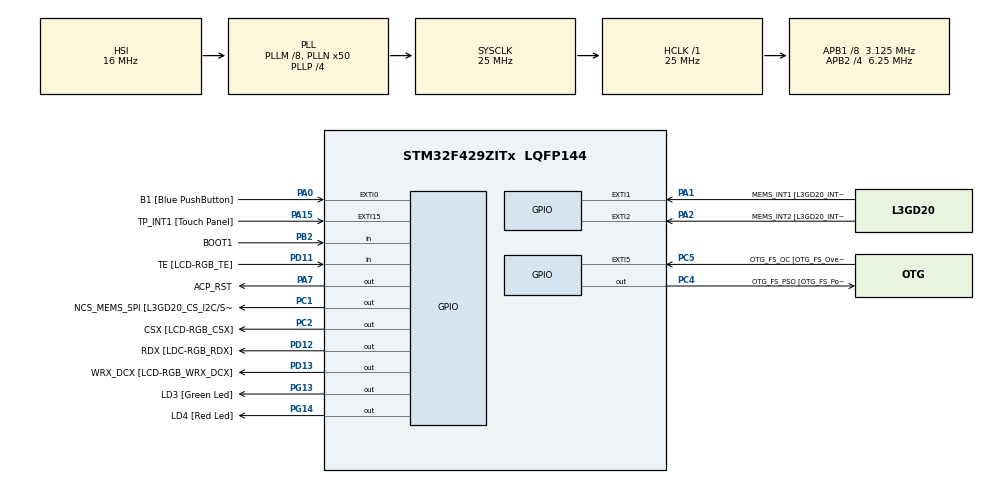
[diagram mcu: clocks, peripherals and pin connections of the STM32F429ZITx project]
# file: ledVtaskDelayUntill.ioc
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Mcu.Family=STM32F4
Mcu.Name=STM32F429ZITx
Mcu.Package=LQFP144
NVIC.PriorityGroup=NVIC_PRIORITYGROUP_4
NVIC.TIM6_DAC_IRQn=true\:15\:0\:false\:false\:true\:false\:true\:true
NVIC.TimeBase=TIM6_DAC_IRQn
NVIC.TimeBaseIP=TIM6
PA0/WKUP.GPIO_Label=B1 [Blue PushButton]
PA0/WKUP.GPIO_ModeDefaultEXTI=GPIO_MODE_EVT_RISING
PA0/WKUP.GPIO_PuPd=GPIO_NOPULL
PA0/WKUP.Signal=GPXTI0
PA1.GPIO_Label=MEMS_INT1 [L3GD20_INT1]
PA1.GPIO_ModeDefaultEXTI=GPIO_MODE_EVT_RISING
PA1.GPIO_PuPd=GPIO_NOPULL
PA1.Signal=GPXTI1
PA10.GPIO_Label=STLINK_TX [STM32F103CBT6_PA2]
PA10.Signal=USART1_RX
PA11.GPIO_Label=R4
PA11.GPIO_Mode=GPIO_MODE_AF_PP
PA11.GPIO_PuPd=GPIO_NOPULL
PA11.GPIO_Speed=GPIO_SPEED_FREQ_LOW
PA11.Signal=LTDC_R4
PA12.GPIO_Label=R5
PA12.GPIO_Mode=GPIO_MODE_AF_PP
PA12.GPIO_PuPd=GPIO_NOPULL
PA12.GPIO_Speed=GPIO_SPEED_FREQ_LOW
PA12.Signal=LTDC_R5
PA13.GPIO_Label=SWDIO
PA13.Signal=SYS_JTMS-SWDIO
PA14.GPIO_Label=SWCLK
PA14.Signal=SYS_JTCK-SWCLK
PA15.GPIO_Label=TP_INT1 [Touch Panel]
PA15.GPIO_ModeDefaultEXTI=GPIO_MODE_EVT_RISING
PA15.GPIO_PuPd=GPIO_NOPULL
PA15.Signal=GPXTI15
PA2.GPIO_Label=MEMS_INT2 [L3GD20_INT2]
PA2.GPIO_ModeDefaultEXTI=GPIO_MODE_EVT_RISING
PA2.GPIO_PuPd=GPIO_NOPULL
PA2.Signal=GPXTI2
PA3.GPIO_Label=B5
PA3.GPIO_Mode=GPIO_MODE_AF_PP
PA3.GPIO_PuPd=GPIO_NOPULL
PA3.GPIO_Speed=GPIO_SPEED_FREQ_LOW
PA3.Signal=LTDC_B5
PA4.GPIO_Label=VSYNC
PA4.GPIO_Mode=GPIO_MODE_AF_PP
PA4.GPIO_PuPd=GPIO_NOPULL
PA4.GPIO_Speed=GPIO_SPEED_FREQ_LOW
PA4.Signal=LTDC_VSYNC
PA6.GPIO_Label=G2
PA6.GPIO_Mode=GPIO_MODE_AF_PP
PA6.GPIO_PuPd=GPIO_NOPULL
PA6.GPIO_Speed=GPIO_SPEED_FREQ_LOW
PA6.Signal=LTDC_G2
PA7.GPIO_Label=ACP_RST
PA7.GPIO_Mode=GPIO_MODE_OUTPUT_PP
PA7.GPIO_PuPd=GPIO_NOPULL
PA7.GPIO_Speed=GPIO_SPEED_FREQ_LOW
PA7.Signal=GPIO_Output
PA8.GPIO_Label=I2C3_SCL [ACP/RF_SCL]
PA8.GPIO_Mode=GPIO_MODE_AF_OD
PA8.GPIO_PuPd=GPIO_NOPULL
PA8.GPIO_Speed=GPIO_SPEED_FREQ_LOW
PA8.Signal=I2C3_SCL
PA9.GPIO_Label=STLINK_RX [STM32F103CBT6_PA3]
PA9.Signal=USART1_TX
PB0.GPIO_Label=R3
PB0.GPIO_Mode=GPIO_MODE_AF_PP
PB0.GPIO_PuPd=GPIO_NOPULL
PB0.GPIO_Speed=GPIO_SPEED_FREQ_LOW
PB0.Signal=LTDC_R3
PB1.GPIO_Label=R6
PB1.GPIO_Mode=GPIO_MODE_AF_PP
PB1.GPIO_PuPd=GPIO_NOPULL
PB1.GPIO_Speed=GPIO_SPEED_FREQ_LOW
PB1.Signal=LTDC_R6
PB10.GPIO_Label=G4
PB10.GPIO_Mode=GPIO_MODE_AF_PP
PB10.GPIO_PuPd=GPIO_NOPULL
PB10.GPIO_Speed=GPIO_SPEED_FREQ_LOW
PB10.Signal=LTDC_G4
PB11.GPIO_Label=G5
PB11.GPIO_Mode=GPIO_MODE_AF_PP
PB11.GPIO_PuPd=GPIO_NOPULL
PB11.GPIO_Speed=GPIO_SPEED_FREQ_LOW
PB11.Signal=LTDC_G5
PB12.GPIO_Label=OTG_HS_ID
PB12.GPIO_Mode=GPIO_MODE_AF_PP
PB12.GPIO_PuPd=GPIO_NOPULL
PB12.GPIO_Speed=GPIO_SPEED_FREQ_LOW
PB12.Signal=USB_OTG_HS_ID
PB13.GPIO_Label=VBUS_HS
PB13.GPIO_Mode=GPIO_MODE_INPUT
PB13.GPIO_PuPd=GPIO_NOPULL
PB13.Signal=USB_OTG_HS_VBUS
PB14.GPIO_Label=OTG_HS_DM
PB14.GPIO_Mode=GPIO_MODE_AF_PP
PB14.GPIO_PuPd=GPIO_NOPULL
PB14.GPIO_Speed=GPIO_SPEED_FREQ_LOW
PB14.Signal=USB_OTG_HS_DM
PB15.GPIO_Label=OTG_HS_DP
PB15.GPIO_Mode=GPIO_MODE_AF_PP
PB15.GPIO_PuPd=GPIO_NOPULL
PB15.GPIO_Speed=GPIO_SPEED_FREQ_LOW
PB15.Signal=USB_OTG_HS_DP
PB2/BOOT1.GPIO_Label=BOOT1
PB2/BOOT1.GPIO_Mode=GPIO_MODE_INPUT
PB2/BOOT1.GPIO_PuPd=GPIO_NOPULL
PB2/BOOT1.Signal=GPIO_Input
PB5.GPIO_Label=SDCKE1
PB5.GPIO_Mode=GPIO_MODE_AF_PP
PB5.GPIO_PuPd=GPIO_NOPULL
PB5.GPIO_Speed=GPIO_SPEED_FREQ_VERY_HIGH
PB5.Signal=FMC_SDCKE1
PB6.GPIO_Label=SDNE1 [SDRAM_CS]
PB6.GPIO_Mode=GPIO_MODE_AF_PP
PB6.GPIO_PuPd=GPIO_NOPULL
PB6.GPIO_Speed=GPIO_SPEED_FREQ_VERY_HIGH
PB6.Signal=FMC_SDNE1
PB8.GPIO_Label=B6
PB8.GPIO_Mode=GPIO_MODE_AF_PP
PB8.GPIO_PuPd=GPIO_NOPULL
PB8.GPIO_Speed=GPIO_SPEED_FREQ_LOW
PB8.Signal=LTDC_B6
PB9.GPIO_Label=B7
PB9.GPIO_Mode=GPIO_MODE_AF_PP
PB9.GPIO_PuPd=GPIO_NOPULL
PB9.GPIO_Speed=GPIO_SPEED_FREQ_LOW
PB9.Signal=LTDC_B7
PC0.GPIO_Label=SDNWE
PC0.GPIO_Mode=GPIO_MODE_AF_PP
PC0.GPIO_PuPd=GPIO_NOPULL
PC0.GPIO_Speed=GPIO_SPEED_FREQ_VERY_HIGH
PC0.Signal=FMC_SDNWE
PC1.GPIO_Label=NCS_MEMS_SPI [L3GD20_CS_I2C/SPI]
PC1.GPIO_Mode=GPIO_MODE_OUTPUT_PP
PC1.GPIO_PuPd=GPIO_NOPULL
PC1.GPIO_Speed=GPIO_SPEED_FREQ_LOW
PC1.Signal=GPIO_Output
PC10.GPIO_Label=R2
PC10.GPIO_Mode=GPIO_MODE_AF_PP
PC10.GPIO_PuPd=GPIO_NOPULL
PC10.GPIO_Speed=GPIO_SPEED_FREQ_LOW
PC10.Signal=LTDC_R2
PC14/OSC32_IN.GPIO_Label=PC14-OSC32_IN
PC14/OSC32_IN.Signal=RCC_OSC32_IN
PC15/OSC32_OUT.GPIO_Label=PC15-OSC32_OUT
PC15/OSC32_OUT.Signal=RCC_OSC32_OUT
PC2.GPIO_Label=CSX [LCD-RGB_CSX]
PC2.GPIO_Mode=GPIO_MODE_OUTPUT_PP
PC2.GPIO_PuPd=GPIO_NOPULL
PC2.GPIO_Speed=GPIO_SPEED_FREQ_LOW
PC2.Signal=GPIO_Output
PC4.GPIO_Label=OTG_FS_PSO [OTG_FS_PowerSwitchOn]
PC4.GPIO_Mode=GPIO_MODE_OUTPUT_PP
PC4.GPIO_PuPd=GPIO_NOPULL
PC4.GPIO_Speed=GPIO_SPEED_FREQ_LOW
PC4.Signal=GPIO_Output
PC5.GPIO_Label=OTG_FS_OC [OTG_FS_OverCurrent]
PC5.GPIO_ModeDefaultEXTI=GPIO_MODE_EVT_RISING
PC5.Signal=GPXTI5
PC6.GPIO_Label=HSYNC
PC6.GPIO_Mode=GPIO_MODE_AF_PP
PC6.GPIO_PuPd=GPIO_NOPULL
PC6.GPIO_Speed=GPIO_SPEED_FREQ_LOW
PC6.Signal=LTDC_HSYNC
PC7.GPIO_Label=G6
PC7.GPIO_Mode=GPIO_MODE_AF_PP
PC7.GPIO_PuPd=GPIO_NOPULL
PC7.GPIO_Speed=GPIO_SPEED_FREQ_LOW
PC7.Signal=LTDC_G6
PC9.GPIO_Label=I2C3_SDA [ACP/RF_SDA]
PC9.GPIO_Mode=GPIO_MODE_AF_OD
PC9.GPIO_PuPd=GPIO_NOPULL
PC9.GPIO_Speed=GPIO_SPEED_FREQ_LOW
PC9.Signal=I2C3_SDA
PD0.GPIO_Label=D2
PD0.GPIO_Mode=GPIO_MODE_AF_PP
PD0.GPIO_PuPd=GPIO_NOPULL
PD0.GPIO_Speed=GPIO_SPEED_FREQ_VERY_HIGH
PD0.Signal=FMC_D2_DA2
PD1.GPIO_Label=D3
PD1.GPIO_Mode=GPIO_MODE_AF_PP
PD1.GPIO_PuPd=GPIO_NOPULL
PD1.GPIO_Speed=GPIO_SPEED_FREQ_VERY_HIGH
PD1.Signal=FMC_D3_DA3
PD10.GPIO_Label=D15
PD10.GPIO_Mode=GPIO_MODE_AF_PP
PD10.GPIO_PuPd=GPIO_NOPULL
PD10.GPIO_Speed=GPIO_SPEED_FREQ_VERY_HIGH
PD10.Signal=FMC_D15_DA15
PD11.GPIO_Label=TE [LCD-RGB_TE]
PD11.GPIO_Mode=GPIO_MODE_INPUT
PD11.GPIO_PuPd=GPIO_NOPULL
PD11.Signal=GPIO_Input
PD12.GPIO_Label=RDX [LDC-RGB_RDX]
PD12.GPIO_Mode=GPIO_MODE_OUTPUT_PP
PD12.GPIO_PuPd=GPIO_NOPULL
PD12.GPIO_Speed=GPIO_SPEED_FREQ_LOW
PD12.Signal=GPIO_Output
PD13.GPIO_Label=WRX_DCX [LCD-RGB_WRX_DCX]
PD13.GPIO_Mode=GPIO_MODE_OUTPUT_PP
PD13.GPIO_PuPd=GPIO_NOPULL
PD13.GPIO_Speed=GPIO_SPEED_FREQ_LOW
PD13.Signal=GPIO_Output
PD14.GPIO_Label=D0
PD14.GPIO_Mode=GPIO_MODE_AF_PP
PD14.GPIO_PuPd=GPIO_NOPULL
PD14.GPIO_Speed=GPIO_SPEED_FREQ_VERY_HIGH
PD14.Signal=FMC_D0_DA0
PD15.GPIO_Label=D1
PD15.GPIO_Mode=GPIO_MODE_AF_PP
PD15.GPIO_PuPd=GPIO_NOPULL
PD15.GPIO_Speed=GPIO_SPEED_FREQ_VERY_HIGH
PD15.Signal=FMC_D1_DA1
PD3.GPIO_Label=G7
PD3.GPIO_Mode=GPIO_MODE_AF_PP
PD3.GPIO_PuPd=GPIO_NOPULL
PD3.GPIO_Speed=GPIO_SPEED_FREQ_LOW
PD3.Signal=LTDC_G7
PD6.GPIO_Label=B2
PD6.GPIO_Mode=GPIO_MODE_AF_PP
PD6.GPIO_PuPd=GPIO_NOPULL
PD6.GPIO_Speed=GPIO_SPEED_FREQ_LOW
PD6.Signal=LTDC_B2
PD8.GPIO_Label=D13
PD8.GPIO_Mode=GPIO_MODE_AF_PP
PD8.GPIO_PuPd=GPIO_NOPULL
PD8.GPIO_Speed=GPIO_SPEED_FREQ_VERY_HIGH
PD8.Signal=FMC_D13_DA13
PD9.GPIO_Label=D14
PD9.GPIO_Mode=GPIO_MODE_AF_PP
PD9.GPIO_PuPd=GPIO_NOPULL
PD9.GPIO_Speed=GPIO_SPEED_FREQ_VERY_HIGH
PD9.Signal=FMC_D14_DA14
PE0.GPIO_Label=NBL0 [SDRAM_LDQM]
PE0.GPIO_Mode=GPIO_MODE_AF_PP
PE0.GPIO_PuPd=GPIO_NOPULL
PE0.GPIO_Speed=GPIO_SPEED_FREQ_VERY_HIGH
PE0.Signal=FMC_NBL0
PE1.GPIO_Label=NBL1 [SDRAM_UDQM]
PE1.GPIO_Mode=GPIO_MODE_AF_PP
PE1.GPIO_PuPd=GPIO_NOPULL
PE1.GPIO_Speed=GPIO_SPEED_FREQ_VERY_HIGH
PE1.Signal=FMC_NBL1
PE10.GPIO_Label=D7
PE10.GPIO_Mode=GPIO_MODE_AF_PP
PE10.GPIO_PuPd=GPIO_NOPULL
PE10.GPIO_Speed=GPIO_SPEED_FREQ_VERY_HIGH
PE10.Signal=FMC_D7_DA7
PE11.GPIO_Label=D8
PE11.GPIO_Mode=GPIO_MODE_AF_PP
PE11.GPIO_PuPd=GPIO_NOPULL
PE11.GPIO_Speed=GPIO_SPEED_FREQ_VERY_HIGH
PE11.Signal=FMC_D8_DA8
PE12.GPIO_Label=D9
PE12.GPIO_Mode=GPIO_MODE_AF_PP
PE12.GPIO_PuPd=GPIO_NOPULL
PE12.GPIO_Speed=GPIO_SPEED_FREQ_VERY_HIGH
PE12.Signal=FMC_D9_DA9
PE13.GPIO_Label=D10
PE13.GPIO_Mode=GPIO_MODE_AF_PP
PE13.GPIO_PuPd=GPIO_NOPULL
PE13.GPIO_Speed=GPIO_SPEED_FREQ_VERY_HIGH
PE13.Signal=FMC_D10_DA10
PE14.GPIO_Label=D11
PE14.GPIO_Mode=GPIO_MODE_AF_PP
PE14.GPIO_PuPd=GPIO_NOPULL
PE14.GPIO_Speed=GPIO_SPEED_FREQ_VERY_HIGH
PE14.Signal=FMC_D11_DA11
PE15.GPIO_Label=D12
PE15.GPIO_Mode=GPIO_MODE_AF_PP
PE15.GPIO_PuPd=GPIO_NOPULL
PE15.GPIO_Speed=GPIO_SPEED_FREQ_VERY_HIGH
PE15.Signal=FMC_D12_DA12
PE7.GPIO_Label=D4
PE7.GPIO_Mode=GPIO_MODE_AF_PP
PE7.GPIO_PuPd=GPIO_NOPULL
PE7.GPIO_Speed=GPIO_SPEED_FREQ_VERY_HIGH
PE7.Signal=FMC_D4_DA4
PE8.GPIO_Label=D5
PE8.GPIO_Mode=GPIO_MODE_AF_PP
PE8.GPIO_PuPd=GPIO_NOPULL
PE8.GPIO_Speed=GPIO_SPEED_FREQ_VERY_HIGH
PE8.Signal=FMC_D5_DA5
PE9.GPIO_Label=D6
PE9.GPIO_Mode=GPIO_MODE_AF_PP
PE9.GPIO_PuPd=GPIO_NOPULL
PE9.GPIO_Speed=GPIO_SPEED_FREQ_VERY_HIGH
PE9.Signal=FMC_D6_DA6
PF0.GPIO_Label=A0
PF0.GPIO_Mode=GPIO_MODE_AF_PP
PF0.GPIO_PuPd=GPIO_NOPULL
PF0.GPIO_Speed=GPIO_SPEED_FREQ_VERY_HIGH
PF0.Signal=FMC_A0
PF1.GPIO_Label=A1
PF1.GPIO_Mode=GPIO_MODE_AF_PP
PF1.GPIO_PuPd=GPIO_NOPULL
PF1.GPIO_Speed=GPIO_SPEED_FREQ_VERY_HIGH
PF1.Signal=FMC_A1
PF10.GPIO_Label=ENABLE [LCD-RGB_ENABLE]
PF10.GPIO_Mode=GPIO_MODE_AF_PP
PF10.GPIO_PuPd=GPIO_NOPULL
PF10.GPIO_Speed=GPIO_SPEED_FREQ_LOW
PF10.Signal=LTDC_DE
PF11.GPIO_Label=SDNRAS
PF11.GPIO_Mode=GPIO_MODE_AF_PP
PF11.GPIO_PuPd=GPIO_NOPULL
PF11.GPIO_Speed=GPIO_SPEED_FREQ_VERY_HIGH
PF11.Signal=FMC_SDNRAS
PF12.GPIO_Label=A6
PF12.GPIO_Mode=GPIO_MODE_AF_PP
PF12.GPIO_PuPd=GPIO_NOPULL
PF12.GPIO_Speed=GPIO_SPEED_FREQ_VERY_HIGH
PF12.Signal=FMC_A6
PF13.GPIO_Label=A7
PF13.GPIO_Mode=GPIO_MODE_AF_PP
PF13.GPIO_PuPd=GPIO_NOPULL
PF13.GPIO_Speed=GPIO_SPEED_FREQ_VERY_HIGH
PF13.Signal=FMC_A7
PF14.GPIO_Label=A8
PF14.GPIO_Mode=GPIO_MODE_AF_PP
PF14.GPIO_PuPd=GPIO_NOPULL
PF14.GPIO_Speed=GPIO_SPEED_FREQ_VERY_HIGH
PF14.Signal=FMC_A8
PF15.GPIO_Label=A9
PF15.GPIO_Mode=GPIO_MODE_AF_PP
PF15.GPIO_PuPd=GPIO_NOPULL
PF15.GPIO_Speed=GPIO_SPEED_FREQ_VERY_HIGH
PF15.Signal=FMC_A9
PF2.GPIO_Label=A2
PF2.GPIO_Mode=GPIO_MODE_AF_PP
PF2.GPIO_PuPd=GPIO_NOPULL
PF2.GPIO_Speed=GPIO_SPEED_FREQ_VERY_HIGH
PF2.Signal=FMC_A2
PF3.GPIO_Label=A3
PF3.GPIO_Mode=GPIO_MODE_AF_PP
PF3.GPIO_PuPd=GPIO_NOPULL
PF3.GPIO_Speed=GPIO_SPEED_FREQ_VERY_HIGH
PF3.Signal=FMC_A3
PF4.GPIO_Label=A4
PF4.GPIO_Mode=GPIO_MODE_AF_PP
PF4.GPIO_PuPd=GPIO_NOPULL
PF4.GPIO_Speed=GPIO_SPEED_FREQ_VERY_HIGH
PF4.Signal=FMC_A4
PF5.GPIO_Label=A5
PF5.GPIO_Mode=GPIO_MODE_AF_PP
PF5.GPIO_PuPd=GPIO_NOPULL
PF5.GPIO_Speed=GPIO_SPEED_FREQ_VERY_HIGH
PF5.Signal=FMC_A5
PF7.GPIO_Label=SPI5_SCK [L3GD20_SCL/SPC]
PF7.GPIO_Mode=GPIO_MODE_AF_PP
PF7.GPIO_PuPd=GPIO_NOPULL
PF7.GPIO_Speed=GPIO_SPEED_FREQ_LOW
PF7.Signal=SPI5_SCK
PF8.GPIO_Label=SPI5_MISO [L3GD20_SDO]
PF8.GPIO_Mode=GPIO_MODE_AF_PP
PF8.GPIO_PuPd=GPIO_NOPULL
PF8.GPIO_Speed=GPIO_SPEED_FREQ_LOW
PF8.Signal=SPI5_MISO
PF9.GPIO_Label=SPI5_MOSI [L3GD20_SDA/SDI/SDO]
PF9.GPIO_Mode=GPIO_MODE_AF_PP
PF9.GPIO_PuPd=GPIO_NOPULL
PF9.GPIO_Speed=GPIO_SPEED_FREQ_LOW
PF9.Signal=SPI5_MOSI
PG0.GPIO_Label=A10
PG0.GPIO_Mode=GPIO_MODE_AF_PP
PG0.GPIO_PuPd=GPIO_NOPULL
PG0.GPIO_Speed=GPIO_SPEED_FREQ_VERY_HIGH
PG0.Signal=FMC_A10
PG1.GPIO_Label=A11
PG1.GPIO_Mode=GPIO_MODE_AF_PP
PG1.GPIO_PuPd=GPIO_NOPULL
PG1.GPIO_Speed=GPIO_SPEED_FREQ_VERY_HIGH
PG1.Signal=FMC_A11
PG10.GPIO_Label=G3
PG10.GPIO_Mode=GPIO_MODE_AF_PP
PG10.GPIO_PuPd=GPIO_NOPULL
PG10.GPIO_Speed=GPIO_SPEED_FREQ_LOW
PG10.Signal=LTDC_G3
PG11.GPIO_Label=B3
PG11.GPIO_Mode=GPIO_MODE_AF_PP
PG11.GPIO_PuPd=GPIO_NOPULL
PG11.GPIO_Speed=GPIO_SPEED_FREQ_LOW
PG11.Signal=LTDC_B3
PG12.GPIO_Label=B4
PG12.GPIO_Mode=GPIO_MODE_AF_PP
PG12.GPIO_PuPd=GPIO_NOPULL
PG12.GPIO_Speed=GPIO_SPEED_FREQ_LOW
PG12.Signal=LTDC_B4
PG13.GPIO_Label=LD3 [Green Led]
PG13.GPIO_Mode=GPIO_MODE_OUTPUT_PP
PG13.GPIO_PuPd=GPIO_NOPULL
PG13.GPIO_Speed=GPIO_SPEED_FREQ_LOW
PG13.Signal=GPIO_Output
PG14.GPIO_Label=LD4 [Red Led]
PG14.GPIO_Mode=GPIO_MODE_OUTPUT_PP
PG14.GPIO_PuPd=GPIO_NOPULL
PG14.GPIO_Speed=GPIO_SPEED_FREQ_LOW
PG14.Signal=GPIO_Output
PG15.GPIO_Label=SDNCAS
PG15.GPIO_Mode=GPIO_MODE_AF_PP
PG15.GPIO_PuPd=GPIO_NOPULL
PG15.GPIO_Speed=GPIO_SPEED_FREQ_VERY_HIGH
PG15.Signal=FMC_SDNCAS
PG4.GPIO_Label=BA0
PG4.GPIO_Mode=GPIO_MODE_AF_PP
PG4.GPIO_PuPd=GPIO_NOPULL
PG4.GPIO_Speed=GPIO_SPEED_FREQ_VERY_HIGH
PG4.Signal=FMC_A14_BA0
PG5.GPIO_Label=BA1
PG5.GPIO_Mode=GPIO_MODE_AF_PP
PG5.GPIO_PuPd=GPIO_NOPULL
PG5.GPIO_Speed=GPIO_SPEED_FREQ_VERY_HIGH
PG5.Signal=FMC_A15_BA1
PG6.GPIO_Label=R7
PG6.GPIO_Mode=GPIO_MODE_AF_PP
PG6.GPIO_PuPd=GPIO_NOPULL
PG6.GPIO_Speed=GPIO_SPEED_FREQ_LOW
PG6.Signal=LTDC_R7
PG7.GPIO_Label=DOTCLK [LCT-RGB_DOTCLK]
PG7.GPIO_Mode=GPIO_MODE_AF_PP
PG7.GPIO_PuPd=GPIO_NOPULL
PG7.GPIO_Speed=GPIO_SPEED_FREQ_LOW
PG7.Signal=LTDC_CLK
PG8.GPIO_Label=SDCLK
PG8.GPIO_Mode=GPIO_MODE_AF_PP
PG8.GPIO_PuPd=GPIO_NOPULL
PG8.GPIO_Speed=GPIO_SPEED_FREQ_VERY_HIGH
PG8.Signal=FMC_SDCLK
PH0/OSC_IN.GPIO_Label=PH0-OSC_IN
PH0/OSC_IN.Signal=RCC_OSC_IN
PH1/OSC_OUT.GPIO_Label=PH1-OSC_OUT
PH1/OSC_OUT.Signal=RCC_OSC_OUT
ProjectManager.HeapSize=0x200
ProjectManager.StackSize=0x400
ProjectManager.TargetToolchain=STM32CubeIDE
RCC.48MHZClocksFreq_Value=14285714.285714285
RCC.AHBFreq_Value=25000000
RCC.APB1CLKDivider=RCC_HCLK_DIV8
RCC.APB1Freq_Value=3125000
RCC.APB1TimFreq_Value=6250000
RCC.APB2CLKDivider=RCC_HCLK_DIV4
RCC.APB2Freq_Value=6250000
RCC.APB2TimFreq_Value=12500000
RCC.CortexFreq_Value=25000000
RCC.HCLKFreq_Value=25000000
RCC.HSE_VALUE=8000000
RCC.HSI_VALUE=16000000
RCC.LSE_VALUE=32768
RCC.PLLM=8
RCC.PLLN=50
RCC.PLLP=RCC_PLLP_DIV4
RCC.PLLQ=7
RCC.SYSCLKFreq_VALUE=25000000
RCC.SYSCLKSource=RCC_SYSCLKSOURCE_PLLCLK
RCC.VCOOutputFreq_Value=100000000
SH.FMC_A0.0=FMC_A0
SH.FMC_A1.0=FMC_A1
SH.FMC_A10.0=FMC_A10
SH.FMC_A11.0=FMC_A11
SH.FMC_A14_BA0.0=FMC_BA0
SH.FMC_A15_BA1.0=FMC_BA1
SH.FMC_A2.0=FMC_A2
SH.FMC_A3.0=FMC_A3
SH.FMC_A4.0=FMC_A4
SH.FMC_A5.0=FMC_A5
SH.FMC_A6.0=FMC_A6
SH.FMC_A7.0=FMC_A7
SH.FMC_A8.0=FMC_A8
SH.FMC_A9.0=FMC_A9
SH.FMC_D0_DA0.0=FMC_D0
SH.FMC_D10_DA10.0=FMC_D10
SH.FMC_D11_DA11.0=FMC_D11
SH.FMC_D12_DA12.0=FMC_D12
SH.FMC_D13_DA13.0=FMC_D13
SH.FMC_D14_DA14.0=FMC_D14
SH.FMC_D15_DA15.0=FMC_D15
SH.FMC_D1_DA1.0=FMC_D1
SH.FMC_D2_DA2.0=FMC_D2
SH.FMC_D3_DA3.0=FMC_D3
SH.FMC_D4_DA4.0=FMC_D4
SH.FMC_D5_DA5.0=FMC_D5
SH.FMC_D6_DA6.0=FMC_D6
SH.FMC_D7_DA7.0=FMC_D7
SH.FMC_D8_DA8.0=FMC_D8
SH.FMC_D9_DA9.0=FMC_D9
SH.FMC_NBL0.0=FMC_NBL0
SH.FMC_NBL1.0=FMC_NBL1
SH.FMC_SDCLK.0=FMC_SDCLK
SH.FMC_SDNCAS.0=FMC_SDNCAS
SH.FMC_SDNRAS.0=FMC_SDNRAS
SH.FMC_SDNWE.0=FMC_SDNWE
VP_SYS_VS_tim6.Mode=TIM6
board=STM32F429I-DISC1

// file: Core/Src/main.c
/* USER CODE BEGIN Header */
/**
  ******************************************************************************
  * @file           : main.c
  * @brief          : Main program body
  ******************************************************************************
  * @attention
  *
  * Copyright (c) 2022 STMicroelectronics.
  * All rights reserved.
  *
  * This software is licensed under terms that can be found in the LICENSE file
  * in the root directory of this software component.
  * If no LICENSE file comes with this software, it is provided AS-IS.
  *
  ******************************************************************************
  */
/* USER CODE END Header */
#include "main.h"

/* USER CODE BEGIN Includes */

#include "FreeRTOS.h"
#include "task.h"
#include <SEGGER_SYSVIEW.h>

/* USER CODE END Includes */

/* USER CODE BEGIN PV */

#define DWT_CTRL (*(volatile uint32_t*)0xE0001000)

/* USER CODE END PV */

void SystemClock_Config(void);
static void MX_GPIO_Init(void);
/* USER CODE BEGIN PFP */

static void ledGreenHandler(void* parameters);
static void ledRedHandler(void* parameters);

/* USER CODE END PFP */

int main(void)
{
  /* USER CODE BEGIN 1 */
	TaskHandle_t task1_Handle;
	TaskHandle_t task2_Handle;
    BaseType_t status;

  /* USER CODE END 1 */

  /* MCU Configuration--------------------------------------------------------*/

  /* Reset of all peripherals, Initializes the Flash interface and the Systick. */
  HAL_Init();

  /* Configure the system clock */
  SystemClock_Config();

  /* Initialize all configured peripherals */
  MX_GPIO_Init();
  /* USER CODE BEGIN 2 */

  DWT_CTRL |= (1 << 0);

  SEGGER_SYSVIEW_Conf();
  //SEGGER_SYSVIEW_Start();

  status = xTaskCreate(ledRedHandler, "Led_Red_Task", 200, NULL, 2, &task1_Handle);
  configASSERT(status == pdPASS);

  status = xTaskCreate(ledGreenHandler,"Led_Green_Task", 200, NULL, 2, &task2_Handle);
  configASSERT(status == pdPASS);

  vTaskStartScheduler();

  //status = xTaskCreate(ledOrangeHandler, "Led_Orange_Handler", 200, NULL, 2, &task2_Handle);
 // configASSERT(status == pdPASS);

  /* WE START THE SCHEDULER HERE*/

  /* USER CODE END 2 */

  /* Infinite loop */
  while (1)
  {

  }
}

void SystemClock_Config(void)
{
  RCC_OscInitTypeDef RCC_OscInitStruct = {0};
  RCC_ClkInitTypeDef RCC_ClkInitStruct = {0};

  /** Configure the main internal regulator output voltage
  */
  __HAL_RCC_PWR_CLK_ENABLE();
  __HAL_PWR_VOLTAGESCALING_CONFIG(PWR_REGULATOR_VOLTAGE_SCALE3);

  /** Initializes the RCC Oscillators according to the specified parameters
  * in the RCC_OscInitTypeDef structure.
  */
  RCC_OscInitStruct.OscillatorType = RCC_OSCILLATORTYPE_HSI;
  RCC_OscInitStruct.HSIState = RCC_HSI_ON;
  RCC_OscInitStruct.HSICalibrationValue = RCC_HSICALIBRATION_DEFAULT;
  RCC_OscInitStruct.PLL.PLLState = RCC_PLL_ON;
  RCC_OscInitStruct.PLL.PLLSource = RCC_PLLSOURCE_HSI;
  RCC_OscInitStruct.PLL.PLLM = 8;
  RCC_OscInitStruct.PLL.PLLN = 50;
  RCC_OscInitStruct.PLL.PLLP = RCC_PLLP_DIV4;
  RCC_OscInitStruct.PLL.PLLQ = 7;
  if (HAL_RCC_OscConfig(&RCC_OscInitStruct) != HAL_OK)
  {
    Error_Handler();
  }

  /** Initializes the CPU, AHB and APB buses clocks
  */
  RCC_ClkInitStruct.ClockType = RCC_CLOCKTYPE_HCLK|RCC_CLOCKTYPE_SYSCLK
                              |RCC_CLOCKTYPE_PCLK1|RCC_CLOCKTYPE_PCLK2;
  RCC_ClkInitStruct.SYSCLKSource = RCC_SYSCLKSOURCE_PLLCLK;
  RCC_ClkInitStruct.AHBCLKDivider = RCC_SYSCLK_DIV1;
  RCC_ClkInitStruct.APB1CLKDivider = RCC_HCLK_DIV8;
  RCC_ClkInitStruct.APB2CLKDivider = RCC_HCLK_DIV4;

  if (HAL_RCC_ClockConfig(&RCC_ClkInitStruct, FLASH_LATENCY_0) != HAL_OK)
  {
    Error_Handler();
  }
}

static void MX_GPIO_Init(void)
{
  GPIO_InitTypeDef GPIO_InitStruct = {0};

  /* GPIO Ports Clock Enable */
  __HAL_RCC_GPIOC_CLK_ENABLE();
  __HAL_RCC_GPIOF_CLK_ENABLE();
  __HAL_RCC_GPIOH_CLK_ENABLE();
  __HAL_RCC_GPIOA_CLK_ENABLE();
  __HAL_RCC_GPIOB_CLK_ENABLE();
  __HAL_RCC_GPIOG_CLK_ENABLE();
  __HAL_RCC_GPIOE_CLK_ENABLE();
  __HAL_RCC_GPIOD_CLK_ENABLE();

  /*Configure GPIO pin Output Level */
  HAL_GPIO_WritePin(GPIOC, NCS_MEMS_SPI_Pin|CSX_Pin|OTG_FS_PSO_Pin, GPIO_PIN_RESET);

  /*Configure GPIO pin Output Level */
  HAL_GPIO_WritePin(ACP_RST_GPIO_Port, ACP_RST_Pin, GPIO_PIN_RESET);

  /*Configure GPIO pin Output Level */
  HAL_GPIO_WritePin(GPIOD, RDX_Pin|WRX_DCX_Pin, GPIO_PIN_RESET);

  /*Configure GPIO pin Output Level */
  HAL_GPIO_WritePin(GPIOG, LD3_Pin|LD4_Pin, GPIO_PIN_RESET);

  /*Configure GPIO pins : A0_Pin A1_Pin A2_Pin A3_Pin
                           A4_Pin A5_Pin SDNRAS_Pin A6_Pin
                           A7_Pin A8_Pin A9_Pin */
  GPIO_InitStruct.Pin = A0_Pin|A1_Pin|A2_Pin|A3_Pin
                          |A4_Pin|A5_Pin|SDNRAS_Pin|A6_Pin
                          |A7_Pin|A8_Pin|A9_Pin;
  GPIO_InitStruct.Mode = GPIO_MODE_AF_PP;
  GPIO_InitStruct.Pull = GPIO_NOPULL;
  GPIO_InitStruct.Speed = GPIO_SPEED_FREQ_VERY_HIGH;
  GPIO_InitStruct.Alternate = GPIO_AF12_FMC;
  HAL_GPIO_Init(GPIOF, &GPIO_InitStruct);

  /*Configure GPIO pins : SPI5_SCK_Pin SPI5_MISO_Pin SPI5_MOSI_Pin */
  GPIO_InitStruct.Pin = SPI5_SCK_Pin|SPI5_MISO_Pin|SPI5_MOSI_Pin;
  GPIO_InitStruct.Mode = GPIO_MODE_AF_PP;
  GPIO_InitStruct.Pull = GPIO_NOPULL;
  GPIO_InitStruct.Speed = GPIO_SPEED_FREQ_LOW;
  GPIO_InitStruct.Alternate = GPIO_AF5_SPI5;
  HAL_GPIO_Init(GPIOF, &GPIO_InitStruct);

  /*Configure GPIO pin : ENABLE_Pin */
  GPIO_InitStruct.Pin = ENABLE_Pin;
  GPIO_InitStruct.Mode = GPIO_MODE_AF_PP;
  GPIO_InitStruct.Pull = GPIO_NOPULL;
  GPIO_InitStruct.Speed = GPIO_SPEED_FREQ_LOW;
  GPIO_InitStruct.Alternate = GPIO_AF14_LTDC;
  HAL_GPIO_Init(ENABLE_GPIO_Port, &GPIO_InitStruct);

  /*Configure GPIO pin : SDNWE_Pin */
  GPIO_InitStruct.Pin = SDNWE_Pin;
  GPIO_InitStruct.Mode = GPIO_MODE_AF_PP;
  GPIO_InitStruct.Pull = GPIO_NOPULL;
  GPIO_InitStruct.Speed = GPIO_SPEED_FREQ_VERY_HIGH;
  GPIO_InitStruct.Alternate = GPIO_AF12_FMC;
  HAL_GPIO_Init(SDNWE_GPIO_Port, &GPIO_InitStruct);

  /*Configure GPIO pins : NCS_MEMS_SPI_Pin CSX_Pin OTG_FS_PSO_Pin */
  GPIO_InitStruct.Pin = NCS_MEMS_SPI_Pin|CSX_Pin|OTG_FS_PSO_Pin;
  GPIO_InitStruct.Mode = GPIO_MODE_OUTPUT_PP;
  GPIO_InitStruct.Pull = GPIO_NOPULL;
  GPIO_InitStruct.Speed = GPIO_SPEED_FREQ_LOW;
  HAL_GPIO_Init(GPIOC, &GPIO_InitStruct);

  /*Configure GPIO pins : B1_Pin MEMS_INT1_Pin MEMS_INT2_Pin TP_INT1_Pin */
  GPIO_InitStruct.Pin = B1_Pin|MEMS_INT1_Pin|MEMS_INT2_Pin|TP_INT1_Pin;
  GPIO_InitStruct.Mode = GPIO_MODE_EVT_RISING;
  GPIO_InitStruct.Pull = GPIO_NOPULL;
  HAL_GPIO_Init(GPIOA, &GPIO_InitStruct);

  /*Configure GPIO pins : B5_Pin VSYNC_Pin G2_Pin R4_Pin
                           R5_Pin */
  GPIO_InitStruct.Pin = B5_Pin|VSYNC_Pin|G2_Pin|R4_Pin
                          |R5_Pin;
  GPIO_InitStruct.Mode = GPIO_MODE_AF_PP;
  GPIO_InitStruct.Pull = GPIO_NOPULL;
  GPIO_InitStruct.Speed = GPIO_SPEED_FREQ_LOW;
  GPIO_InitStruct.Alternate = GPIO_AF14_LTDC;
  HAL_GPIO_Init(GPIOA, &GPIO_InitStruct);

  /*Configure GPIO pin : ACP_RST_Pin */
  GPIO_InitStruct.Pin = ACP_RST_Pin;
  GPIO_InitStruct.Mode = GPIO_MODE_OUTPUT_PP;
  GPIO_InitStruct.Pull = GPIO_NOPULL;
  GPIO_InitStruct.Speed = GPIO_SPEED_FREQ_LOW;
  HAL_GPIO_Init(ACP_RST_GPIO_Port, &GPIO_InitStruct);

  /*Configure GPIO pin : OTG_FS_OC_Pin */
  GPIO_InitStruct.Pin = OTG_FS_OC_Pin;
  GPIO_InitStruct.Mode = GPIO_MODE_EVT_RISING;
  GPIO_InitStruct.Pull = GPIO_NOPULL;
  HAL_GPIO_Init(OTG_FS_OC_GPIO_Port, &GPIO_InitStruct);

  /*Configure GPIO pins : R3_Pin R6_Pin */
  GPIO_InitStruct.Pin = R3_Pin|R6_Pin;
  GPIO_InitStruct.Mode = GPIO_MODE_AF_PP;
  GPIO_InitStruct.Pull = GPIO_NOPULL;
  GPIO_InitStruct.Speed = GPIO_SPEED_FREQ_LOW;
  GPIO_InitStruct.Alternate = GPIO_AF9_LTDC;
  HAL_GPIO_Init(GPIOB, &GPIO_InitStruct);

  /*Configure GPIO pin : BOOT1_Pin */
  GPIO_InitStruct.Pin = BOOT1_Pin;
  GPIO_InitStruct.Mode = GPIO_MODE_INPUT;
  GPIO_InitStruct.Pull = GPIO_NOPULL;
  HAL_GPIO_Init(BOOT1_GPIO_Port, &GPIO_InitStruct);

  /*Configure GPIO pins : A10_Pin A11_Pin BA0_Pin BA1_Pin
                           SDCLK_Pin SDNCAS_Pin */
  GPIO_InitStruct.Pin = A10_Pin|A11_Pin|BA0_Pin|BA1_Pin
                          |SDCLK_Pin|SDNCAS_Pin;
  GPIO_InitStruct.Mode = GPIO_MODE_AF_PP;
  GPIO_InitStruct.Pull = GPIO_NOPULL;
  GPIO_InitStruct.Speed = GPIO_SPEED_FREQ_VERY_HIGH;
  GPIO_InitStruct.Alternate = GPIO_AF12_FMC;
  HAL_GPIO_Init(GPIOG, &GPIO_InitStruct);

  /*Configure GPIO pins : D4_Pin D5_Pin D6_Pin D7_Pin
                           D8_Pin D9_Pin D10_Pin D11_Pin
                           D12_Pin NBL0_Pin NBL1_Pin */
  GPIO_InitStruct.Pin = D4_Pin|D5_Pin|D6_Pin|D7_Pin
                          |D8_Pin|D9_Pin|D10_Pin|D11_Pin
                          |D12_Pin|NBL0_Pin|NBL1_Pin;
  GPIO_InitStruct.Mode = GPIO_MODE_AF_PP;
  GPIO_InitStruct.Pull = GPIO_NOPULL;
  GPIO_InitStruct.Speed = GPIO_SPEED_FREQ_VERY_HIGH;
  GPIO_InitStruct.Alternate = GPIO_AF12_FMC;
  HAL_GPIO_Init(GPIOE, &GPIO_InitStruct);

  /*Configure GPIO pins : G4_Pin G5_Pin B6_Pin B7_Pin */
  GPIO_InitStruct.Pin = G4_Pin|G5_Pin|B6_Pin|B7_Pin;
  GPIO_InitStruct.Mode = GPIO_MODE_AF_PP;
  GPIO_InitStruct.Pull = GPIO_NOPULL;
  GPIO_InitStruct.Speed = GPIO_SPEED_FREQ_LOW;
  GPIO_InitStruct.Alternate = GPIO_AF14_LTDC;
  HAL_GPIO_Init(GPIOB, &GPIO_InitStruct);

  /*Configure GPIO pins : OTG_HS_ID_Pin OTG_HS_DM_Pin OTG_HS_DP_Pin */
  GPIO_InitStruct.Pin = OTG_HS_ID_Pin|OTG_HS_DM_Pin|OTG_HS_DP_Pin;
  GPIO_InitStruct.Mode = GPIO_MODE_AF_PP;
  GPIO_InitStruct.Pull = GPIO_NOPULL;
  GPIO_InitStruct.Speed = GPIO_SPEED_FREQ_LOW;
  GPIO_InitStruct.Alternate = GPIO_AF12_OTG_HS_FS;
  HAL_GPIO_Init(GPIOB, &GPIO_InitStruct);

  /*Configure GPIO pin : VBUS_HS_Pin */
  GPIO_InitStruct.Pin = VBUS_HS_Pin;
  GPIO_InitStruct.Mode = GPIO_MODE_INPUT;
  GPIO_InitStruct.Pull = GPIO_NOPULL;
  HAL_GPIO_Init(VBUS_HS_GPIO_Port, &GPIO_InitStruct);

  /*Configure GPIO pins : D13_Pin D14_Pin D15_Pin D0_Pin
                           D1_Pin D2_Pin D3_Pin */
  GPIO_InitStruct.Pin = D13_Pin|D14_Pin|D15_Pin|D0_Pin
                          |D1_Pin|D2_Pin|D3_Pin;
  GPIO_InitStruct.Mode = GPIO_MODE_AF_PP;
  GPIO_InitStruct.Pull = GPIO_NOPULL;
  GPIO_InitStruct.Speed = GPIO_SPEED_FREQ_VERY_HIGH;
  GPIO_InitStruct.Alternate = GPIO_AF12_FMC;
  HAL_GPIO_Init(GPIOD, &GPIO_InitStruct);

  /*Configure GPIO pin : TE_Pin */
  GPIO_InitStruct.Pin = TE_Pin;
  GPIO_InitStruct.Mode = GPIO_MODE_INPUT;
  GPIO_InitStruct.Pull = GPIO_NOPULL;
  HAL_GPIO_Init(TE_GPIO_Port, &GPIO_InitStruct);

  /*Configure GPIO pins : RDX_Pin WRX_DCX_Pin */
  GPIO_InitStruct.Pin = RDX_Pin|WRX_DCX_Pin;
  GPIO_InitStruct.Mode = GPIO_MODE_OUTPUT_PP;
  GPIO_InitStruct.Pull = GPIO_NOPULL;
  GPIO_InitStruct.Speed = GPIO_SPEED_FREQ_LOW;
  HAL_GPIO_Init(GPIOD, &GPIO_InitStruct);

  /*Configure GPIO pins : R7_Pin DOTCLK_Pin B3_Pin */
  GPIO_InitStruct.Pin = R7_Pin|DOTCLK_Pin|B3_Pin;
  GPIO_InitStruct.Mode = GPIO_MODE_AF_PP;
  GPIO_InitStruct.Pull = GPIO_NOPULL;
  GPIO_InitStruct.Speed = GPIO_SPEED_FREQ_LOW;
  GPIO_InitStruct.Alternate = GPIO_AF14_LTDC;
  HAL_GPIO_Init(GPIOG, &GPIO_InitStruct);

  /*Configure GPIO pins : HSYNC_Pin G6_Pin R2_Pin */
  GPIO_InitStruct.Pin = HSYNC_Pin|G6_Pin|R2_Pin;
  GPIO_InitStruct.Mode = GPIO_MODE_AF_PP;
  GPIO_InitStruct.Pull = GPIO_NOPULL;
  GPIO_InitStruct.Speed = GPIO_SPEED_FREQ_LOW;
  GPIO_InitStruct.Alternate = GPIO_AF14_LTDC;
  HAL_GPIO_Init(GPIOC, &GPIO_InitStruct);

  /*Configure GPIO pin : I2C3_SDA_Pin */
  GPIO_InitStruct.Pin = I2C3_SDA_Pin;
  GPIO_InitStruct.Mode = GPIO_MODE_AF_OD;
  GPIO_InitStruct.Pull = GPIO_NOPULL;
  GPIO_InitStruct.Speed = GPIO_SPEED_FREQ_LOW;
  GPIO_InitStruct.Alternate = GPIO_AF4_I2C3;
  HAL_GPIO_Init(I2C3_SDA_GPIO_Port, &GPIO_InitStruct);

  /*Configure GPIO pin : I2C3_SCL_Pin */
  GPIO_InitStruct.Pin = I2C3_SCL_Pin;
  GPIO_InitStruct.Mode = GPIO_MODE_AF_OD;
  GPIO_InitStruct.Pull = GPIO_NOPULL;
  GPIO_InitStruct.Speed = GPIO_SPEED_FREQ_LOW;
  GPIO_InitStruct.Alternate = GPIO_AF4_I2C3;
  HAL_GPIO_Init(I2C3_SCL_GPIO_Port, &GPIO_InitStruct);

  /*Configure GPIO pins : STLINK_RX_Pin STLINK_TX_Pin */
  GPIO_InitStruct.Pin = STLINK_RX_Pin|STLINK_TX_Pin;
  GPIO_InitStruct.Mode = GPIO_MODE_AF_PP;
  GPIO_InitStruct.Pull = GPIO_NOPULL;
  GPIO_InitStruct.Speed = GPIO_SPEED_FREQ_VERY_HIGH;
  GPIO_InitStruct.Alternate = GPIO_AF7_USART1;
  HAL_GPIO_Init(GPIOA, &GPIO_InitStruct);

  /*Configure GPIO pins : G7_Pin B2_Pin */
  GPIO_InitStruct.Pin = G7_Pin|B2_Pin;
  GPIO_InitStruct.Mode = GPIO_MODE_AF_PP;
  GPIO_InitStruct.Pull = GPIO_NOPULL;
  GPIO_InitStruct.Speed = GPIO_SPEED_FREQ_LOW;
  GPIO_InitStruct.Alternate = GPIO_AF14_LTDC;
  HAL_GPIO_Init(GPIOD, &GPIO_InitStruct);

  /*Configure GPIO pins : G3_Pin B4_Pin */
  GPIO_InitStruct.Pin = G3_Pin|B4_Pin;
  GPIO_InitStruct.Mode = GPIO_MODE_AF_PP;
  GPIO_InitStruct.Pull = GPIO_NOPULL;
  GPIO_InitStruct.Speed = GPIO_SPEED_FREQ_LOW;
  GPIO_InitStruct.Alternate = GPIO_AF9_LTDC;
  HAL_GPIO_Init(GPIOG, &GPIO_InitStruct);

  /*Configure GPIO pins : LD3_Pin LD4_Pin */
  GPIO_InitStruct.Pin = LD3_Pin|LD4_Pin;
  GPIO_InitStruct.Mode = GPIO_MODE_OUTPUT_PP;
  GPIO_InitStruct.Pull = GPIO_NOPULL;
  GPIO_InitStruct.Speed = GPIO_SPEED_FREQ_LOW;
  HAL_GPIO_Init(GPIOG, &GPIO_InitStruct);

  /*Configure GPIO pins : SDCKE1_Pin SDNE1_Pin */
  GPIO_InitStruct.Pin = SDCKE1_Pin|SDNE1_Pin;
  GPIO_InitStruct.Mode = GPIO_MODE_AF_PP;
  GPIO_InitStruct.Pull = GPIO_NOPULL;
  GPIO_InitStruct.Speed = GPIO_SPEED_FREQ_VERY_HIGH;
  GPIO_InitStruct.Alternate = GPIO_AF12_FMC;
  HAL_GPIO_Init(GPIOB, &GPIO_InitStruct);

}

/* USER CODE BEGIN 4 */
static void ledRedHandler(void* parameters){

	TickType_t xLastWakeTime;
	xLastWakeTime = xTaskGetTickCount();

	while(1)
		{
		SEGGER_SYSVIEW_PrintfTarget("Toggling Red Led");
		HAL_GPIO_TogglePin(GPIOG, ledRed);
		vTaskDelayUntil( &xLastWakeTime,pdMS_TO_TICKS(1000));
		//snprintf(mess, 100, (char*)parameters);

		//taskYIELD();
		}

}

static void ledGreenHandler(void* parameters){

	TickType_t xLastWakeTime;
	xLastWakeTime = xTaskGetTickCount();

	while(1)
		{

		SEGGER_SYSVIEW_PrintfTarget("Toggling for Green Led");
		HAL_GPIO_TogglePin(GPIOG, ledGreen);
		vTaskDelayUntil( &xLastWakeTime,pdMS_TO_TICKS(700));
		//snprintf(mess, 100, (char*)parameters);

		//taskYIELD();
		}

}

/* USER CODE END 4 */

void HAL_TIM_PeriodElapsedCallback(TIM_HandleTypeDef *htim)
{
  if (htim->Instance == TIM6) {
    HAL_IncTick();
  }
}

void Error_Handler(void)
{
  __disable_irq();
  while (1)
  {
  }
}
